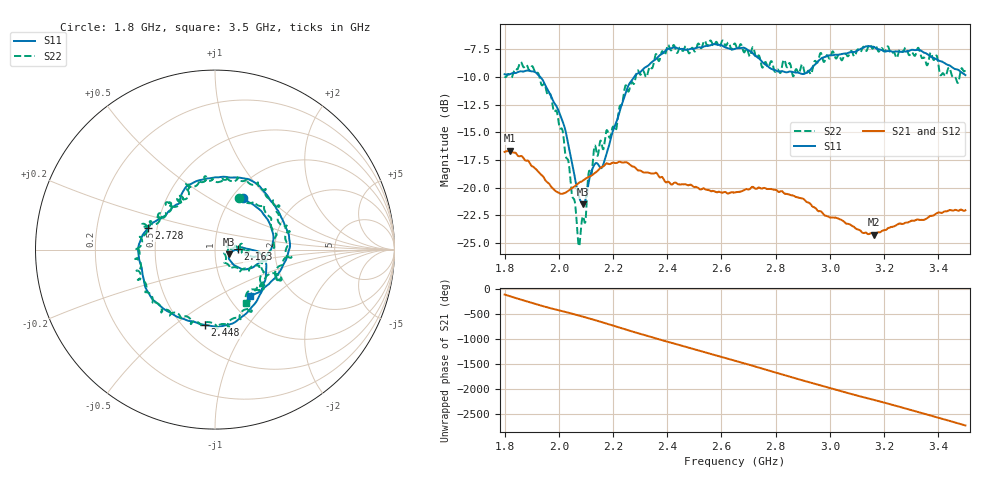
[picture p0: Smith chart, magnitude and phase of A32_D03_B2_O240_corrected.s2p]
! Created with skrf 1.9.0 (http://scikit-rf.org).
# Hz S RI R 50.0
!freq ReS11 ImS11 ReS21 ImS21 ReS12 ImS12 ReS22 ImS22
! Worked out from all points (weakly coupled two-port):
!   1601 points, 1.8 GHz to 3.5 GHz, reference 50 ohm
!   highest |S21| = -16.67 dB at 1.818 GHz (marker M1); lowest = -24.2 dB at 3.163 GHz (marker M2)
!   lowest |S11| = -21.5 dB at 2.09 GHz (marker M3), VSWR 1.18, Z = 58.6 - j3.03 ohm
!   |S11| at or under -10 dB: 1.932 GHz to 2.278 GHz (346 MHz wide, 16.4 % of centre)
!   |S22| runs from -25.3 to -6.7 dB; largest |S21 - S12| = 0.0025
!   S11 on the Smith chart (normalised r, x): 1.8 GHz: 1.12, +0.72; 2.163 GHz: 1.29, +0.01; 2.448 GHz: 0.64, -0.65; 2.728 GHz: 0.45, +0.13; 3.5 GHz: 1.25, -0.72
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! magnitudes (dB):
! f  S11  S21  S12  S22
! 1.8 GHz  -9.8  -16.8  -16.8  -10.0
! 1.818 GHz  -9.8  -16.7  -16.7  -9.8
! 1.903 GHz  -9.5  -18.1  -18.1  -9.0
! 1.968 GHz  -11.6  -19.8  -19.8  -11.5
! 2.015 GHz  -14.1  -20.5  -20.6  -14.9
! 2.072 GHz  -20.6  -19.6  -19.6  -25.0
! 2.084 GHz  -21.3  -19.5  -19.4  -23.2
! 2.09 GHz  -21.5  -19.3  -19.4  -22.6
! 2.13 GHz  -18.0  -18.7  -18.7  -16.4
! 2.163 GHz  -18.0  -18.1  -18.0  -16.5
! 2.259 GHz  -10.7  -17.9  -17.9  -11.2
! 2.367 GHz  -8.2  -18.9  -18.9  -8.5
! 2.448 GHz  -7.5  -19.7  -19.7  -7.4
! 2.65 GHz  -7.5  -20.4  -20.4  -7.0
! 2.728 GHz  -8.1  -20.1  -20.1  -8.3
! 2.934 GHz  -9.2  -21.7  -21.6  -9.6
! 2.966 GHz  -8.4  -22.1  -22.1  -7.8
! 3.163 GHz  -7.3  -24.2  -24.2  -7.2
! 3.217 GHz  -7.7  -23.6  -23.6  -7.4
! 3.376 GHz  -8.2  -22.5  -22.5  -7.9
! 3.469 GHz  -9.3  -22.0  -22.0  -10.5
! 3.5 GHz  -9.8  -22.0  -22.0  -9.3
